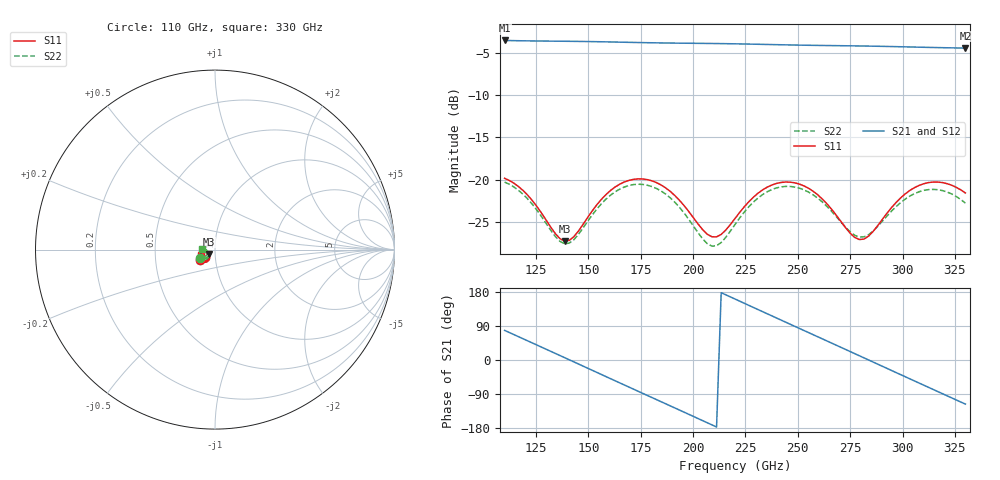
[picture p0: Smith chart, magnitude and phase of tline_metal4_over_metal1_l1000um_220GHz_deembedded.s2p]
! Created with skrf 2.0.1 (http://scikit-rf.org).
# GHz S DB R 50.0
!freq dBS11 angS11 dBS21 angS21 dBS12 angS12 dBS22 angS22
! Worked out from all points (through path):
!   101 points, 110 GHz to 330 GHz, reference 50 ohm
!   highest |S21| = -3.55 dB at 110 GHz (marker M1); lowest = -4.5 dB at 330 GHz (marker M2)
!   group delay of S21, straight-line fit = 7.01 ps
!   lowest |S11| = -27.2 dB at 138.6 GHz (marker M3), VSWR 1.09, Z = 46.5 - j2.34 ohm
!   |S11| at or under -10 dB: start of sweep to end of sweep
!   |S22| runs from -27.8 to -20.3 dB; largest |S21 - S12| = 7.3e-14
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110  -19.81 -147.2  -3.55 78.2  -3.55 78.2  -20.26 -152.3
125.4  -23.13 -164.9  -3.62 39.5  -3.62 39.5  -23.56 -170.8
138.6  -27.22 -144.8  -3.65 6.3  -3.65 6.3  -27.53 -152.3
147.4  -25.27 -122.4  -3.67 -15.9  -3.67 -15.9  -25.69 -131.3
156.2  -22.30 -121.8  -3.71 -38.2  -3.71 -38.2  -22.82 -131.3
167.2  -20.25 -134.5  -3.76 -66.0  -3.76 -66.0  -20.84 -144.5
176  -19.90 -147.4  -3.81 -88.2  -3.81 -88.2  -20.54 -158.0
184.8  -20.61 -159.6  -3.85 -110.3  -3.85 -110.3  -21.33 -170.8
198  -23.76 -168.8  -3.88 -143.5  -3.88 -143.5  -24.68 179.3
209  -26.72 -150.9  -3.91 -171.3  -3.91 -171.3  -27.82 -161.0
220  -24.56 -127.7  -3.95 160.9  -3.95 160.9  -25.26 -137.2
231  -21.57 -130.6  -4.00 133.1  -4.00 133.1  -22.14 -141.5
239.8  -20.42 -140.8  -4.05 110.9  -4.05 110.9  -20.95 -152.5
248.6  -20.35 -152.5  -4.09 88.7  -4.09 88.7  -20.85 -164.9
257.4  -21.36 -163.1  -4.13 66.6  -4.13 66.6  -21.78 -175.8
268.4  -24.19 -168.1  -4.17 38.9  -4.17 38.9  -24.35 178.7
279.4  -27.04 -148.0  -4.20 11.1  -4.20 11.1  -26.75 -165.3
294.8  -23.25 -123.3  -4.27 -27.8  -4.27 -27.8  -23.67 -145.6
303.6  -21.23 -128.9  -4.32 -50.0  -4.32 -50.0  -21.89 -151.5
312.4  -20.32 -138.9  -4.37 -72.2  -4.37 -72.2  -21.15 -161.9
321.2  -20.44 -149.5  -4.42 -94.3  -4.42 -94.3  -21.43 -173.0
330  -21.55 -157.6  -4.45 -116.4  -4.45 -116.4  -22.74 178.3
